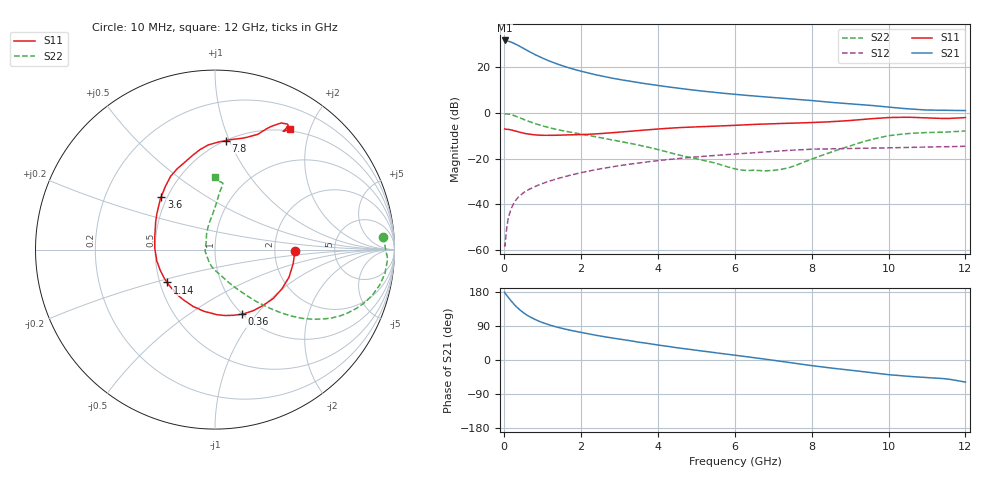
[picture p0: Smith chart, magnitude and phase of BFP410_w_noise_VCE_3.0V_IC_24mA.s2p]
! Infineon Technologies  Discrete & RF Semiconductors
! BFP410
! VCE =  3.0 V,  IC =  24 mA
! Common Emitter S-Parameters:  Nov 2015
# GHz  S  MA  R  50
!  f  S11  S21  S12  S22
! GHz  MAG  ANG  MAG  ANG  MAG  ANG  MAG  ANG
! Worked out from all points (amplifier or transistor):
!   243 points, 10 MHz to 12 GHz, reference 50 ohm
!   highest |S21| = 31.8 dB at 10 MHz (marker M1)
!   |S21| within 3 dB of that: start of sweep to 450.7 MHz
!   unconditionally stable (mu >= 1): 1.731 GHz to end of sweep
!   at 240 MHz: K = 0.30, MSG = 35.3 dB, |S12| = -39.9 dB
!   at 1.84 GHz: K = 1.02, MAG = 22.0 dB, |S12| = -26.8 dB
!   at 12 GHz: K = 1.02, MAG = 7.0 dB, |S12| = -14.6 dB
!   lowest NFmin = 1.85 dB at 450 MHz
!   S11 on the Smith chart (normalised r, x): 10 MHz: 2.61, -0.04; 360 MHz: 0.99, -0.84; 1.14 GHz: 0.55, -0.22; 3.6 GHz: 0.46, +0.33; 7.8 GHz: 0.50, +0.97; 12 GHz: 0.47, +1.71
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0.01  0.4461 -0.7  39.1 179.1  0.0013 94.3  0.9412 4.4
0.02  0.4437 -3.0  38.88 176.6  0.0012 97.1  0.9503 0.1
0.06  0.4409 -12.1  38.2 171.2  0.0028 82.4  0.9613 -4.1
0.1  0.4401 -20.4  37.81 166.1  0.0047 82.5  0.9564 -7.9
0.185  0.4251 -37.0  35.82 155.3  0.008 77.6  0.9201 -14.9
0.28  0.4042 -54.3  32.99 144.4  0.0115 72.8  0.8645 -21.4
0.36  0.3892 -67.7  30.51 136.5  0.0141 69.8  0.8131 -26.1
0.5  0.3632 -87.9  26.23 124.7  0.0178 66.1  0.7271 -32.0
0.6  0.3495 -100.0  23.52 117.7  0.0201 64.5  0.6737 -35.2
0.7  0.3393 -111.0  21.2 112.1  0.0223 63.4  0.6271 -37.8
0.9  0.3282 -128.8  17.47 102.5  0.0265 62.1  0.5525 -41.6
1.14  0.3239 -145.6  14.24 93.8  0.0313 61.3  0.4847 -44.9
1.52  0.3273 -165.1  10.84 83.1  0.0391 60.0  0.4098 -48.9
2.02  0.3363 175.8  8.17 72.2  0.0497 57.5  0.3436 -53.1
2.74  0.3662 154.2  5.975 59.2  0.0647 52.5  0.2638 -59.4
3.6  0.42 135.4  4.499 45.7  0.0823 45.7  0.1897 -68.6
4.1  0.4531 126.7  3.91 38.2  0.0923 41.3  0.1507 -76.4
6.1  0.5422 102.8  2.528 11.4  0.1277 23.9  0.0575 -142.9
7.8  0.6101 84.4  1.938 -11.7  0.1578 7.0  0.0841 124.7
8.2  0.6279 79.1  1.812 -17.2  0.1619 2.5  0.1128 112.7
10.2  0.8014 61.2  1.302 -40.4  0.1735 -14.0  0.333 84.7
12  0.7935 58.0  1.132 -58.2  0.1866 -29.7  0.405 90.1
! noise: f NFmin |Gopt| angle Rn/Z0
0.45  1.85  0.17  -160  0.18
0.9  1.85  0.2  -157  0.16
1.8  2  0.24  -139  0.19
2.4  2  0.28  -125  0.24
5.5  2.89  0.46  -101  0.5
10  4.02  0.72  -45  2.79
